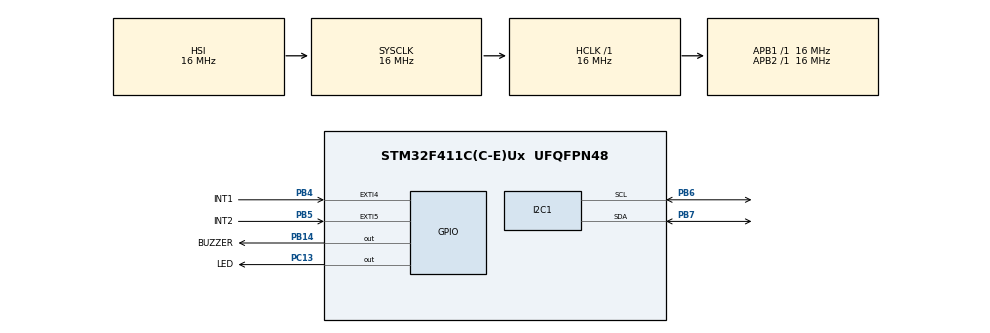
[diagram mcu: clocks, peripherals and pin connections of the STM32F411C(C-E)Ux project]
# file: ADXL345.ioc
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Mcu.Family=STM32F4
Mcu.Name=STM32F411C(C-E)Ux
Mcu.Package=UFQFPN48
NVIC.EXTI4_IRQn=true\:0\:0\:false\:false\:true\:true\:true
NVIC.PriorityGroup=NVIC_PRIORITYGROUP_4
PA13.Mode=Trace_Asynchronous_SW
PA13.Signal=SYS_JTMS-SWDIO
PA14.Mode=Trace_Asynchronous_SW
PA14.Signal=SYS_JTCK-SWCLK
PB14.GPIO_Label=BUZZER
PB14.PinState=GPIO_PIN_SET
PB14.Signal=GPIO_Output
PB3.Mode=Trace_Asynchronous_SW
PB3.Signal=SYS_JTDO-SWO
PB4.GPIO_Label=INT1
PB4.GPIO_ModeDefaultEXTI=GPIO_MODE_IT_RISING
PB4.GPIO_PuPd=GPIO_PULLDOWN
PB4.Signal=GPXTI4
PB5.GPIO_Label=INT2
PB5.GPIO_ModeDefaultEXTI=GPIO_MODE_IT_RISING
PB5.GPIO_PuPd=GPIO_PULLDOWN
PB5.Signal=GPXTI5
PB6.Mode=I2C
PB6.Signal=I2C1_SCL
PB7.Mode=I2C
PB7.Signal=I2C1_SDA
PC13-ANTI_TAMP.GPIO_Label=LED
PC13-ANTI_TAMP.Signal=GPIO_Output
ProjectManager.HeapSize=0x200
ProjectManager.StackSize=0x400
ProjectManager.TargetToolchain=STM32CubeIDE
RCC.AHBFreq_Value=16000000
RCC.APB1Freq_Value=16000000
RCC.APB2Freq_Value=16000000
RCC.CortexFreq_Value=16000000
RCC.HSE_VALUE=25000000
RCC.HSI_VALUE=16000000
RCC.LSE_VALUE=32768
RCC.SYSCLKFreq_VALUE=16000000
RCC.VCOOutputFreq_Value=192000000
board=custom

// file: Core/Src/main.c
/* USER CODE BEGIN Header */
/**
  ******************************************************************************
  * @file           : main.c
  * @brief          : Main program body
  ******************************************************************************
  * @attention
  *
  * <h2><center>&copy; Copyright (c) 2021 STMicroelectronics.
  * All rights reserved.</center></h2>
  *
  * This software component is licensed by ST under BSD 3-Clause license,
  * the "License"; You may not use this file except in compliance with the
  * License. You may obtain a copy of the License at:
  *                        opensource.org/licenses/BSD-3-Clause
  *
  ******************************************************************************
  */
/* USER CODE END Header */
#include "main.h"

/* USER CODE BEGIN Includes */
#include <stdio.h> /* SWO */

/* USER CODE END Includes */

I2C_HandleTypeDef hi2c1;

/* USER CODE BEGIN PV */

/* Flags */
uint8_t AdxlFlgInt1 = 0;
uint8_t AdxlFlgInt2 = 0;

struct AdxlCommands
{
	uint8_t	DEVID;	/*	Device ID	*/
	uint8_t	THRESH_TAP;	/*	Tap threshold	*/
	uint8_t	OFSX;	/*	X-axis offset	*/
	uint8_t	OFSY;	/*	Y-axis offset	*/
	uint8_t	OFSZ;	/*	Z-axis offset	*/
	uint8_t	DUR;	/*	Tap duration	*/
	uint8_t	Latent;	/*	Tap latency	*/
	uint8_t	Window;	/*	Tap window	*/
	uint8_t	THRESH_ACT;	/*	Activity threshold	*/
	uint8_t	THRESH_INACT;	/*	Inactivity threshold	*/
	uint8_t	TIME_INACT;	/*	Inactivity time	*/
	uint8_t	ACT_INACT_CTL;	/*	Axis enable control for activity and inactivity detection	*/
	uint8_t	THRESH_FF;	/*	Free-fall threshold	*/
	uint8_t	TIME_FF;	/*	Free-fall time	*/
	uint8_t	TAP_AXES;	/*	Axis control for single tap/double tap	*/
	uint8_t	ACT_TAP_STATUS;	/*	Source of single tap/double tap	*/
	uint8_t	BW_RATE;	/*	Data rate and power mode control	*/
	uint8_t	POWER_CTL;	/*	Power-saving features control	*/
	uint8_t	INT_ENABLE;	/*	Interrupt enable control	*/
	uint8_t	INT_MAP;	/*	Interrupt mapping control	*/
	uint8_t	INT_SOURCE;	/*	Source of interrupts	*/
	uint8_t	DATA_FORMAT;	/*	Data format control	*/
	uint8_t	DATAX0;	/*	X-Axis Data 0	*/
	uint8_t	DATAX1;	/*	X-Axis Data 1	*/
	uint8_t	DATAY0;	/*	Y-Axis Data 0	*/
	uint8_t	DATAY1;	/*	Y-Axis Data 1	*/
	uint8_t	DATAZ0;	/*	Z-Axis Data 0	*/
	uint8_t	DATAZ1;	/*	Z-Axis Data 1	*/
	uint8_t	FIFO_CTL;	/*	FIFO control	*/
	uint8_t	FIFO_STATUS;	/*	FIFO status	*/
};

struct AdxlCommands AdxlReg = {0x00, 0x1D, 0x1E, 0x1F, 0x20, 0x21, 0x22,
	0x23, 0x24, 0x25, 0x26, 0x27, 0x28, 0x29, 0x2A, 0x2B, 0x2C, 0x2D,
	0x2E, 0x2F, 0x30, 0x31, 0x32, 0x33, 0x34, 0x35, 0x36, 0x37, 0x38, 0x39};

enum AdxlBitNum
{
	D0,
	D1,
	D2,
	D3,
	D4,
	D5,
	D6,
	D7
};

struct AdxlData
{
	uint8_t id;
	int16_t x,y,z;

	double xg, yg, zg;

	uint8_t activity;

	uint8_t int_src;

	uint8_t raw[6];
}Adxl345;

#define SWODEBUG 1

#define SCALE_FACTOR 29.0

#define ADXL_ADR (0x53 << 1)

/* USER CODE END PV */

void SystemClock_Config(void);
static void MX_GPIO_Init(void);
static void MX_I2C1_Init(void);

/* USER CODE BEGIN 0 */

int _write(int file, uint8_t *ptr, int len)
{
	for (int DataIdx = 0; DataIdx < len; DataIdx++)
	{
		ITM_SendChar(*ptr++);
	}
	return len;
}
/* USER CODE END 0 */

int main(void)
{

  /* MCU Configuration--------------------------------------------------------*/

  /* Reset of all peripherals, Initializes the Flash interface and the Systick. */
  HAL_Init();

  /* Configure the system clock */
  SystemClock_Config();

  /* Initialize all configured peripherals */
  MX_GPIO_Init();
  MX_I2C1_Init();
  /* USER CODE BEGIN 2 */

	uint8_t i2c_tx[2];

	/* ACCELERATION MEASURMENT */
//	/* Rate */
//	i2c_tx[0] = AdxlReg.BW_RATE;
//	i2c_tx[1] = ((1 << D3) | (1 << D1));
//	HAL_I2C_Master_Transmit(&hi2c1, ADXL_ADR, (uint8_t*)i2c_tx, 2, 1000);
//
//	/* Range 16g */
//	i2c_tx[0] = AdxlReg.DATA_FORMAT;
//	i2c_tx[1] = ((1 << D0) | (1 << D1));
//	HAL_I2C_Master_Transmit(&hi2c1, ADXL_ADR, (uint8_t*)i2c_tx, 2, 1000);
//
//	/* Measure */
//	i2c_tx[0] = AdxlReg.POWER_CTL;
//	i2c_tx[1] = (1 << D3);
//	HAL_I2C_Master_Transmit(&hi2c1, ADXL_ADR, (uint8_t*)i2c_tx, 2, 1000);

	/* ACTIVITY */
//
//	/* Activity Axes */
//	i2c_tx[0] = AdxlReg.ACT_INACT_CTL;
//	i2c_tx[1] = ((1 << D7) | (1 << D6) | (1 << D5) | (1 << D4));
//	HAL_I2C_Master_Transmit(&hi2c1, ADXL_ADR, (uint8_t*)i2c_tx, 2, 1000);
//
//	/* Threshold Activity */
//	i2c_tx[0] = AdxlReg.THRESH_ACT;
//	i2c_tx[1] = 10;
//	HAL_I2C_Master_Transmit(&hi2c1, ADXL_ADR, (uint8_t*)i2c_tx, 2, 1000);
//
//	/* Int Map */
//	i2c_tx[0] = AdxlReg.INT_MAP;
//	i2c_tx[1] = ~(1 << D4);
//	HAL_I2C_Master_Transmit(&hi2c1, ADXL_ADR, (uint8_t*)i2c_tx, 2, 1000);
//
//	/* Interrupt Enable */
//	i2c_tx[0] = AdxlReg.INT_ENABLE;
//	i2c_tx[1] = (1 << D4);
//	HAL_I2C_Master_Transmit(&hi2c1, ADXL_ADR, (uint8_t*)i2c_tx, 2, 1000);
//
//	/* Measure */
//	i2c_tx[0] = AdxlReg.POWER_CTL;
//	i2c_tx[1] = (1 << D3);
//	HAL_I2C_Master_Transmit(&hi2c1, ADXL_ADR, (uint8_t*)i2c_tx, 2, 1000);

	/* FREE-FALL */

//	/* Free-fall threshold */
//	i2c_tx[0] = AdxlReg.THRESH_FF;
//	i2c_tx[1] = 3;
//	HAL_I2C_Master_Transmit(&hi2c1, ADXL_ADR, (uint8_t*)i2c_tx, 2, 1000);
//
//	/* Free-fall time */
//	i2c_tx[0] = AdxlReg.TIME_FF;
//	i2c_tx[1] = 2;
//	HAL_I2C_Master_Transmit(&hi2c1, ADXL_ADR, (uint8_t*)i2c_tx, 2, 1000);
//
//	/* Int Map */
//	i2c_tx[0] = AdxlReg.INT_MAP;
//	i2c_tx[1] = ~(1 << D2);
//	HAL_I2C_Master_Transmit(&hi2c1, ADXL_ADR, (uint8_t*)i2c_tx, 2, 1000);
//
//	/* Interrupt Enable */
//	i2c_tx[0] = AdxlReg.INT_ENABLE;
//	i2c_tx[1] = (1 << D2);
//	HAL_I2C_Master_Transmit(&hi2c1, ADXL_ADR, (uint8_t*)i2c_tx, 2, 1000);
//
//	/* Measure */
//	i2c_tx[0] = AdxlReg.POWER_CTL;
//	i2c_tx[1] = (1 << D3);
//	HAL_I2C_Master_Transmit(&hi2c1, ADXL_ADR, (uint8_t*)i2c_tx, 2, 1000);
//
//	uint8_t ActCnt = 0;

//	/* DOUBLE TAP */
//
//	/* Tap Axes */
//	i2c_tx[0] = AdxlReg.TAP_AXES;
//	i2c_tx[1] = ((1 << D2) | (1 << D1) | (1 << D0));
//	HAL_I2C_Master_Transmit(&hi2c1, ADXL_ADR, (uint8_t*)i2c_tx, 2, 1000);
//
//	/* Threshold Tap */
//	i2c_tx[0] = AdxlReg.THRESH_TAP;
//	i2c_tx[1] = 60;
//	HAL_I2C_Master_Transmit(&hi2c1, ADXL_ADR, (uint8_t*)i2c_tx, 2, 1000);
//
//	/* Tap Duration */
//	i2c_tx[0] = AdxlReg.DUR;
//	i2c_tx[1] = 40;
//	HAL_I2C_Master_Transmit(&hi2c1, ADXL_ADR, (uint8_t*)i2c_tx, 2, 1000);
//
//	/* Tap Latency */
//	i2c_tx[0] = AdxlReg.Latent;
//	i2c_tx[1] = 80;
//	HAL_I2C_Master_Transmit(&hi2c1, ADXL_ADR, (uint8_t*)i2c_tx, 2, 1000);
//
//	/* Tap Window */
//	i2c_tx[0] = AdxlReg.Window;
//	i2c_tx[1] = 200;
//	HAL_I2C_Master_Transmit(&hi2c1, ADXL_ADR, (uint8_t*)i2c_tx, 2, 1000);
//
//	/* Interrupt Enable */
//	i2c_tx[0] = AdxlReg.INT_ENABLE;
//	i2c_tx[1] = (1 << D5);
//	HAL_I2C_Master_Transmit(&hi2c1, ADXL_ADR, (uint8_t*)i2c_tx, 2, 1000);
//
//	/* Interrupt Map */
//	i2c_tx[0] = AdxlReg.INT_MAP;
//	i2c_tx[1] = ~(1 << D5);
//	HAL_I2C_Master_Transmit(&hi2c1, ADXL_ADR, (uint8_t*)i2c_tx, 2, 1000);
//
//	/* Measure */
//	i2c_tx[0] = AdxlReg.POWER_CTL;
//	i2c_tx[1] = (1 << D3);
//	HAL_I2C_Master_Transmit(&hi2c1, ADXL_ADR, (uint8_t*)i2c_tx, 2, 1000);

//	/* DEVICE ID */
//
//	HAL_I2C_Master_Transmit(&hi2c1, ADXL_ADR, &AdxlReg.DEVID, 1, 1000);
//	HAL_I2C_Master_Receive(&hi2c1, ADXL_ADR, (uint8_t*)&Adxl345.id, 1, 1000);

  /* USER CODE END 2 */

  /* Infinite loop */
  /* USER CODE BEGIN WHILE */
  while (1)
  {

	  HAL_I2C_Mem_Read(&hi2c1, ADXL_ADR, AdxlReg.INT_SOURCE, 1, &Adxl345.int_src, 1, 100);
	  if(Adxl345.int_src & (1 << D2)) /* D2 - FREEFALL, D5 - DOUBLE TAP, D4 - ACTIVITY*/
	  {
		  HAL_GPIO_TogglePin(LED_GPIO_Port, LED_Pin);

		  HAL_GPIO_WritePin(BUZZER_GPIO_Port, BUZZER_Pin, GPIO_PIN_RESET);
		  HAL_Delay(50);
		  HAL_GPIO_WritePin(BUZZER_GPIO_Port, BUZZER_Pin, GPIO_PIN_SET);

		  Adxl345.int_src = 0;
	  }

//	  if(AdxlFlgInt1)
//	  {
//		  HAL_GPIO_TogglePin(LED_GPIO_Port, LED_Pin);
//
//		  AdxlFlgInt1 = 0;
//
//		  //printf("%d\r\n", ++ActCnt);
//
//		  HAL_I2C_Mem_Read(&hi2c1, ADXL_ADR, AdxlReg.INT_SOURCE, 1, &Adxl345.int_src, 1, 100);
//	  }
//

//
//	  if(AdxlFlgInt2)
//	  {
//		  HAL_GPIO_TogglePin(LED_GPIO_Port, LED_Pin);
//
//		  //printf("Free-fall detected!\r\n");
//
//		  HAL_I2C_Mem_Read(&hi2c1, ADXL_ADR, (uint16_t)0x30, 1, (uint8_t*)&Adxl345.int_src, 1, 100);
//
//		  AdxlFlgInt2 = 0;
//	  }

	/* XYZ ACCELERATION */

	HAL_I2C_Master_Transmit(&hi2c1, ADXL_ADR, (uint8_t*)&AdxlReg.DATAX0, 1, 100);
	HAL_I2C_Master_Receive(&hi2c1, ADXL_ADR, (uint8_t*)&Adxl345.raw, 6, 100);

	Adxl345.x = ((int16_t)(Adxl345.raw[1] << 8) | Adxl345.raw[0]);
	Adxl345.y = ((int16_t)(Adxl345.raw[3] << 8) | Adxl345.raw[2]);
	Adxl345.z = ((int16_t)(Adxl345.raw[5] << 8) | Adxl345.raw[4]);

	Adxl345.xg = (SCALE_FACTOR*Adxl345.x)/1000;
	Adxl345.yg = (SCALE_FACTOR*Adxl345.y)/1000;
	Adxl345.zg = (SCALE_FACTOR*Adxl345.z)/1000;

#if(SWODEBUG)
//	printf("Adxl345.xg = %.3f\r\n", Adxl345.xg);
#endif

	HAL_Delay(10);

    /* USER CODE END WHILE */

  }
}

void SystemClock_Config(void)
{
  RCC_OscInitTypeDef RCC_OscInitStruct = {0};
  RCC_ClkInitTypeDef RCC_ClkInitStruct = {0};

  /** Configure the main internal regulator output voltage
  */
  __HAL_RCC_PWR_CLK_ENABLE();
  __HAL_PWR_VOLTAGESCALING_CONFIG(PWR_REGULATOR_VOLTAGE_SCALE1);
  /** Initializes the RCC Oscillators according to the specified parameters
  * in the RCC_OscInitTypeDef structure.
  */
  RCC_OscInitStruct.OscillatorType = RCC_OSCILLATORTYPE_HSI;
  RCC_OscInitStruct.HSIState = RCC_HSI_ON;
  RCC_OscInitStruct.HSICalibrationValue = RCC_HSICALIBRATION_DEFAULT;
  RCC_OscInitStruct.PLL.PLLState = RCC_PLL_NONE;
  if (HAL_RCC_OscConfig(&RCC_OscInitStruct) != HAL_OK)
  {
    Error_Handler();
  }
  /** Initializes the CPU, AHB and APB buses clocks
  */
  RCC_ClkInitStruct.ClockType = RCC_CLOCKTYPE_HCLK|RCC_CLOCKTYPE_SYSCLK
                              |RCC_CLOCKTYPE_PCLK1|RCC_CLOCKTYPE_PCLK2;
  RCC_ClkInitStruct.SYSCLKSource = RCC_SYSCLKSOURCE_HSI;
  RCC_ClkInitStruct.AHBCLKDivider = RCC_SYSCLK_DIV1;
  RCC_ClkInitStruct.APB1CLKDivider = RCC_HCLK_DIV1;
  RCC_ClkInitStruct.APB2CLKDivider = RCC_HCLK_DIV1;

  if (HAL_RCC_ClockConfig(&RCC_ClkInitStruct, FLASH_LATENCY_0) != HAL_OK)
  {
    Error_Handler();
  }
}

static void MX_I2C1_Init(void)
{

  hi2c1.Instance = I2C1;
  hi2c1.Init.ClockSpeed = 100000;
  hi2c1.Init.DutyCycle = I2C_DUTYCYCLE_2;
  hi2c1.Init.OwnAddress1 = 0;
  hi2c1.Init.AddressingMode = I2C_ADDRESSINGMODE_7BIT;
  hi2c1.Init.DualAddressMode = I2C_DUALADDRESS_DISABLE;
  hi2c1.Init.OwnAddress2 = 0;
  hi2c1.Init.GeneralCallMode = I2C_GENERALCALL_DISABLE;
  hi2c1.Init.NoStretchMode = I2C_NOSTRETCH_DISABLE;
  if (HAL_I2C_Init(&hi2c1) != HAL_OK)
  {
    Error_Handler();
  }

}

static void MX_GPIO_Init(void)
{
  GPIO_InitTypeDef GPIO_InitStruct = {0};

  /* GPIO Ports Clock Enable */
  __HAL_RCC_GPIOC_CLK_ENABLE();
  __HAL_RCC_GPIOB_CLK_ENABLE();
  __HAL_RCC_GPIOA_CLK_ENABLE();

  /*Configure GPIO pin Output Level */
  HAL_GPIO_WritePin(LED_GPIO_Port, LED_Pin, GPIO_PIN_RESET);

  /*Configure GPIO pin Output Level */
  HAL_GPIO_WritePin(BUZZER_GPIO_Port, BUZZER_Pin, GPIO_PIN_SET);

  /*Configure GPIO pin : LED_Pin */
  GPIO_InitStruct.Pin = LED_Pin;
  GPIO_InitStruct.Mode = GPIO_MODE_OUTPUT_PP;
  GPIO_InitStruct.Pull = GPIO_NOPULL;
  GPIO_InitStruct.Speed = GPIO_SPEED_FREQ_LOW;
  HAL_GPIO_Init(LED_GPIO_Port, &GPIO_InitStruct);

  /*Configure GPIO pin : BUZZER_Pin */
  GPIO_InitStruct.Pin = BUZZER_Pin;
  GPIO_InitStruct.Mode = GPIO_MODE_OUTPUT_PP;
  GPIO_InitStruct.Pull = GPIO_NOPULL;
  GPIO_InitStruct.Speed = GPIO_SPEED_FREQ_LOW;
  HAL_GPIO_Init(BUZZER_GPIO_Port, &GPIO_InitStruct);

  /*Configure GPIO pins : INT1_Pin INT2_Pin */
  GPIO_InitStruct.Pin = INT1_Pin|INT2_Pin;
  GPIO_InitStruct.Mode = GPIO_MODE_IT_RISING;
  GPIO_InitStruct.Pull = GPIO_PULLDOWN;
  HAL_GPIO_Init(GPIOB, &GPIO_InitStruct);

  /* EXTI interrupt init*/
  HAL_NVIC_SetPriority(EXTI4_IRQn, 0, 0);
  HAL_NVIC_EnableIRQ(EXTI4_IRQn);

}

/* USER CODE BEGIN 4 */

void HAL_GPIO_EXTI_Callback(uint16_t GPIO_Pin)
{
	if(GPIO_Pin == INT1_Pin)
	{
		/* Set Flag */
	    AdxlFlgInt1 = 255;
	}

	if(GPIO_Pin == INT2_Pin)
	{
		/* Set Flag */
	    AdxlFlgInt2 = 255;
	}

}

/* USER CODE END 4 */

void Error_Handler(void)
{
  __disable_irq();
  while (1)
  {
  }
}

/************************ (C) COPYRIGHT STMicroelectronics *****END OF FILE****/
